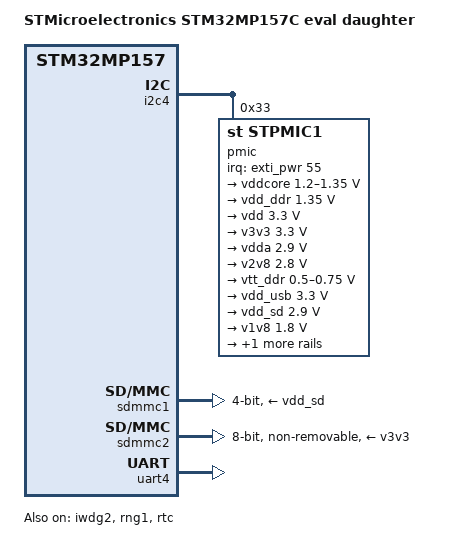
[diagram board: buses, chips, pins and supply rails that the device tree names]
// SPDX-License-Identifier: (GPL-2.0+ OR BSD-3-Clause)
/*
 * Copyright (C) STMicroelectronics 2017-2019 - All Rights Reserved
 * Author: Ludovic Barre <ludovic.barre@st.com> for STMicroelectronics.
 */
/dts-v1/;

#include "stm32mp157c.dtsi"
#include "stm32mp157caa-pinctrl.dtsi"

/ {
	model = "STMicroelectronics STM32MP157C eval daughter";
	compatible = "st,stm32mp157c-ed1", "st,stm32mp157";

	chosen {
		stdout-path = "serial0:115200n8";
	};

	aliases {
		serial0 = &uart4;
	};
};

&clk_hse {
	st,digbypass;
};

&i2c4 {
	pinctrl-names = "default";
	pinctrl-0 = <&i2c4_pins_a>;
	i2c-scl-rising-time-ns = <185>;
	i2c-scl-falling-time-ns = <20>;
	status = "okay";

	pmic: stpmic@33 {
		compatible = "st,stpmic1";
		reg = <0x33>;
		interrupts-extended = <&exti_pwr 55 IRQ_TYPE_EDGE_FALLING>;
		interrupt-controller;
		#interrupt-cells = <2>;
		status = "okay";

		st,main-control-register = <0x04>;
		st,vin-control-register = <0xc0>;
		st,usb-control-register = <0x20>;

		regulators {
			compatible = "st,stpmic1-regulators";

			ldo1-supply = <&v3v3>;
			ldo2-supply = <&v3v3>;
			ldo3-supply = <&vdd_ddr>;
			ldo5-supply = <&v3v3>;
			ldo6-supply = <&v3v3>;

			vddcore: buck1 {
				regulator-name = "vddcore";
				regulator-min-microvolt = <1200000>;
				regulator-max-microvolt = <1350000>;
				regulator-always-on;
				regulator-initial-mode = <0>;
				regulator-over-current-protection;
			};

			vdd_ddr: buck2 {
				regulator-name = "vdd_ddr";
				regulator-min-microvolt = <1350000>;
				regulator-max-microvolt = <1350000>;
				regulator-always-on;
				regulator-initial-mode = <0>;
				regulator-over-current-protection;
			};

			vdd: buck3 {
				regulator-name = "vdd";
				regulator-min-microvolt = <3300000>;
				regulator-max-microvolt = <3300000>;
				regulator-always-on;
				st,mask-reset;
				regulator-initial-mode = <0>;
				regulator-over-current-protection;
			};

			v3v3: buck4 {
				regulator-name = "v3v3";
				regulator-min-microvolt = <3300000>;
				regulator-max-microvolt = <3300000>;
				regulator-always-on;
				regulator-over-current-protection;
				regulator-initial-mode = <0>;
			};

			vdda: ldo1 {
				regulator-name = "vdda";
				regulator-min-microvolt = <2900000>;
				regulator-max-microvolt = <2900000>;
			};

			v2v8: ldo2 {
				regulator-name = "v2v8";
				regulator-min-microvolt = <2800000>;
				regulator-max-microvolt = <2800000>;
			};

			vtt_ddr: ldo3 {
				regulator-name = "vtt_ddr";
				regulator-min-microvolt = <500000>;
				regulator-max-microvolt = <750000>;
				regulator-always-on;
				regulator-over-current-protection;
			};

			vdd_usb: ldo4 {
				regulator-name = "vdd_usb";
				regulator-min-microvolt = <3300000>;
				regulator-max-microvolt = <3300000>;
			};

			vdd_sd: ldo5 {
				regulator-name = "vdd_sd";
				regulator-min-microvolt = <2900000>;
				regulator-max-microvolt = <2900000>;
				regulator-boot-on;
			};

			v1v8: ldo6 {
				regulator-name = "v1v8";
				regulator-min-microvolt = <1800000>;
				regulator-max-microvolt = <1800000>;
			};

			vref_ddr: vref_ddr {
				regulator-name = "vref_ddr";
				regulator-always-on;
				regulator-over-current-protection;
			};
		};
	};
};

&iwdg2 {
	timeout-sec = <32>;
	status = "okay";
};

&pwr {
	pwr-regulators {
		vdd-supply = <&vdd>;
	};
};

/* RNG1 is used by non secure at run time and by secure (low power sequences) */
&rng1 {
	status = "okay";
	secure-status = "okay";
};

&rtc {
	status = "okay";
};

&sdmmc1 {
	pinctrl-names = "default";
	pinctrl-0 = <&sdmmc1_b4_pins_a &sdmmc1_dir_pins_a>;
	broken-cd;
	st,sig-dir;
	st,neg-edge;
	st,use-ckin;
	bus-width = <4>;
	vmmc-supply = <&vdd_sd>;
	sd-uhs-sdr12;
	sd-uhs-sdr25;
	sd-uhs-sdr50;
	sd-uhs-ddr50;
	sd-uhs-sdr104;
	status = "okay";
};

&sdmmc2 {
	pinctrl-names = "default";
	pinctrl-0 = <&sdmmc2_b4_pins_a &sdmmc2_d47_pins_a>;
	non-removable;
	no-sd;
	no-sdio;
	st,neg-edge;
	bus-width = <8>;
	vmmc-supply = <&v3v3>;
	vqmmc-supply = <&v3v3>;
	mmc-ddr-3_3v;
	status = "okay";
};

&uart4 {
	pinctrl-names = "default";
	pinctrl-0 = <&uart4_pins_a>;
	status = "okay";
};

/* ATF Specific */
#include <dt-bindings/clock/stm32mp1-clksrc.h>
#include <dt-bindings/power/stm32mp1-power.h>
#include "stm32mp15-ddr3-2x4Gb-1066-binG.dtsi"
#include "stm32mp157c-security.dtsi"

/ {
	aliases {
		gpio0 = &gpioa;
		gpio1 = &gpiob;
		gpio2 = &gpioc;
		gpio3 = &gpiod;
		gpio4 = &gpioe;
		gpio5 = &gpiof;
		gpio6 = &gpiog;
		gpio7 = &gpioh;
		gpio8 = &gpioi;
		gpio9 = &gpioj;
		gpio10 = &gpiok;
		gpio25 = &gpioz;
		i2c3 = &i2c4;
	};
};

/* CLOCK presence */
&rcc {
	secure-status = "okay";
	st,hsi-cal;
	st,csi-cal;
	st,cal-sec = <60>;
};

/* Security specific */
&etzpc {
	st,decprot = <
		DECPROT(STM32MP1_ETZPC_USART1_ID, DECPROT_NS_RW, DECPROT_UNLOCK)
		DECPROT(STM32MP1_ETZPC_SPI6_ID, DECPROT_NS_RW, DECPROT_UNLOCK)
		DECPROT(STM32MP1_ETZPC_I2C4_ID, DECPROT_NS_RW, DECPROT_UNLOCK)
		DECPROT(STM32MP1_ETZPC_I2C6_ID, DECPROT_NS_RW, DECPROT_UNLOCK)
		DECPROT(STM32MP1_ETZPC_RNG1_ID, DECPROT_NS_RW, DECPROT_UNLOCK)
		DECPROT(STM32MP1_ETZPC_HASH1_ID, DECPROT_NS_RW, DECPROT_UNLOCK)
		DECPROT(STM32MP1_ETZPC_CRYP1_ID, DECPROT_NS_RW, DECPROT_UNLOCK)
	>;
};

&iwdg2 {
	secure-status = "okay";
};

&pwr {
	system_suspend_supported_soc_modes = <
		STM32_PM_CSLEEP_RUN
		STM32_PM_CSTOP_ALLOW_LP_STOP
		STM32_PM_CSTOP_ALLOW_STANDBY_DDR_SR
	>;

	system_off_soc_mode = <STM32_PM_CSTOP_ALLOW_STANDBY_DDR_OFF>;
};

&timers15 {
	secure-status = "okay";
	st,hsi-cal-input = <7>;
	st,csi_cal-input = <8>;
};

/* Low-power states of regulators */
&vddcore {
	lp-stop {
		regulator-on-in-suspend;
		regulator-suspend-microvolt = <1200000>;
	};
	standby-ddr-sr {
		regulator-off-in-suspend;
	};
	standby-ddr-off {
		regulator-off-in-suspend;
	};
};

&vdd_ddr {
	lp-stop {
		regulator-suspend-microvolt = <1350000>;
		regulator-on-in-suspend;
	};
	standby-ddr-sr {
		regulator-suspend-microvolt = <1350000>;
		regulator-on-in-suspend;
	};
	standby-ddr-off {
		regulator-off-in-suspend;
	};
};

&vdd {
	lp-stop {
		regulator-suspend-microvolt = <3300000>;
		regulator-on-in-suspend;
	};
	standby-ddr-sr {
		regulator-suspend-microvolt = <3300000>;
		regulator-on-in-suspend;
	};
	standby-ddr-off {
		regulator-suspend-microvolt = <3300000>;
		regulator-on-in-suspend;
	};
};

&v3v3 {
	standby-ddr-sr {
		regulator-off-in-suspend;
	};
	standby-ddr-off {
		regulator-off-in-suspend;
	};
};

&vdda {
	standby-ddr-sr {
		regulator-off-in-suspend;
	};
	standby-ddr-off {
		regulator-off-in-suspend;
	};
};

&v2v8 {
	standby-ddr-sr {
		regulator-off-in-suspend;
	};
	standby-ddr-off {
		regulator-off-in-suspend;
	};
};

&vtt_ddr {
	lp-stop {
		regulator-off-in-suspend;
	};
	standby-ddr-sr {
		regulator-off-in-suspend;
	};
	standby-ddr-off {
		regulator-off-in-suspend;
	};
};

&vdd_usb {
	standby-ddr-sr {
		regulator-off-in-suspend;
	};
	standby-ddr-off {
		regulator-off-in-suspend;
	};
};

&vdd_sd {
	standby-ddr-sr {
		regulator-off-in-suspend;
	};
	standby-ddr-off {
		regulator-off-in-suspend;
	};
};

&v1v8 {
	standby-ddr-sr {
		regulator-off-in-suspend;
	};
	standby-ddr-off {
		regulator-off-in-suspend;
	};
};

&vref_ddr {
	lp-stop {
		regulator-on-in-suspend;
	};
	standby-ddr-sr {
		regulator-on-in-suspend;
	};
	standby-ddr-off {
		regulator-off-in-suspend;
	};
};
